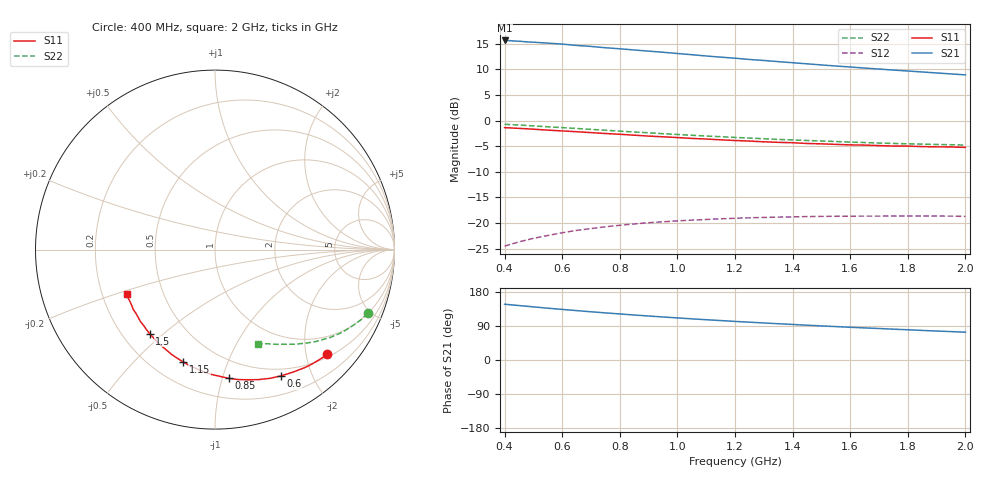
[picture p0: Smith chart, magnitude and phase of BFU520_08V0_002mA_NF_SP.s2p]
! Filename:  P:\Prog\Test\Noise\ATS_data\Testdata_Net\06 Compressed Noise after Statistics\BFU520_APG2013_37_A05_08p0V_002mA_NF_CM01_D.sf
! Date/Time: Fri 26/Apr/2013 14:13:11
! BFU520_APG2013_37_A05_08p0V_1to20mA_NF_CM01_Bias2_R.sf
! Noise Parameter Data File
! BFU520_APG2013_37_A05_08p0V_1to20mA_NF_CM01
! Date/time: Tue Apr 23 18:16:22 2013
! VAR V_out= 8.000000
! VAR I_out= 1.995000
! VAR V_in= 0.804200
! VAR I_in= 0.021505
! Device data file deembeded for feedlines and parallel
! Original file: \06 Compressed Noise after Statistics\BFU520_APG2013_37_A05_08p0V_002mA_NF_CM01_R.sf
! Feed-files: PR047V01_250413_Feed1.s2p, PR047V01_250413_Feed2.s2p
! Parallel-file: PR047V01_250413_Par.s2p
# MHz S MA R 50
!  Freq-MHz  S11-mag  S11-arg  S21-mag  S21-arg  S12-mag  S12-arg  S22-mag  S22-arg
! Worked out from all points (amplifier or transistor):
!   37 points, 400 MHz to 2 GHz, reference 50 ohm
!   highest |S21| = 15.7 dB at 400 MHz (marker M1)
!   |S21| within 3 dB of that: start of sweep to 1.094 GHz
!   unconditionally stable (mu >= 1): nowhere
!   at 500 MHz: K = 0.17, MSG = 19.1 dB, |S12| = -23.0 dB
!   at 1.1 GHz: K = 0.36, MSG = 16.0 dB, |S12| = -19.3 dB
!   at 2 GHz: K = 0.66, MSG = 13.8 dB, |S12| = -18.7 dB
!   lowest NFmin = 0.54 dB at 420 MHz
!   S11 on the Smith chart (normalised r, x): 400 MHz: 0.56, -2.43; 600 MHz: 0.41, -1.57; 850 MHz: 0.35, -1.05; 1.15 GHz: 0.32, -0.70; 1.5 GHz: 0.31, -0.45; 2 GHz: 0.31, -0.22
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400  0.8548 -43.0  6.064 147.2  0.05954 64.2  0.921 -22.6
440  0.8436 -47.0  5.98 144.3  0.06434 62.0  0.9089 -24.6
460  0.8374 -49.0  5.934 143.0  0.06669 60.8  0.9035 -25.6
480  0.8322 -50.9  5.862 141.6  0.06879 59.7  0.8952 -26.5
500  0.8253 -52.9  5.832 140.2  0.07096 58.7  0.8888 -27.4
550  0.8081 -57.9  5.709 136.7  0.07574 56.1  0.8706 -29.6
600  0.7936 -62.5  5.591 133.5  0.08049 53.8  0.8549 -31.7
650  0.78 -66.8  5.42 130.4  0.08485 51.5  0.8387 -33.7
700  0.7641 -71.4  5.303 127.2  0.08842 49.2  0.8215 -35.6
750  0.7491 -75.5  5.147 124.4  0.09207 47.3  0.8064 -37.4
800  0.7358 -79.8  5.028 121.5  0.09518 45.4  0.7892 -39.1
850  0.7215 -83.9  4.896 118.8  0.09813 43.5  0.7751 -40.6
950  0.6956 -91.7  4.651 113.5  0.103 40.1  0.7457 -43.8
1050  0.6707 -99.0  4.401 108.6  0.1069 37.1  0.7198 -46.6
1150  0.6498 -105.9  4.169 104.1  0.1103 34.5  0.6975 -48.9
1200  0.64 -109.5  4.068 101.8  0.1114 33.1  0.6856 -50.2
1350  0.6142 -118.9  3.767 95.7  0.1143 29.9  0.6561 -53.5
1500  0.5936 -127.9  3.499 90.0  0.1162 27.1  0.6328 -56.6
1600  0.5798 -133.6  3.338 86.3  0.1168 25.4  0.6177 -58.6
1750  0.5652 -141.5  3.117 81.3  0.1172 23.5  0.599 -61.2
1850  0.558 -146.5  2.986 78.0  0.1174 22.4  0.5906 -62.9
2000  0.5478 -153.4  2.797 73.4  0.1163 21.1  0.5768 -65.5
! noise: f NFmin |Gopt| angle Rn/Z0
400  0.5935  0.487  21.02  0.2175
460  0.5574  0.4729  22.34  0.208
600  0.6162  0.4632  25.69  0.2211
800  0.642  0.4764  40.71  0.1953
1000  0.6904  0.4646  51.67  0.1853
1200  0.7578  0.4547  61.48  0.1775
1400  0.7386  0.4459  72.77  0.1583
1600  0.7561  0.4196  85.16  0.1368
1800  0.6323  0.3817  100.2  0.1076
2000  0.9104  0.4225  107.1  0.1235
